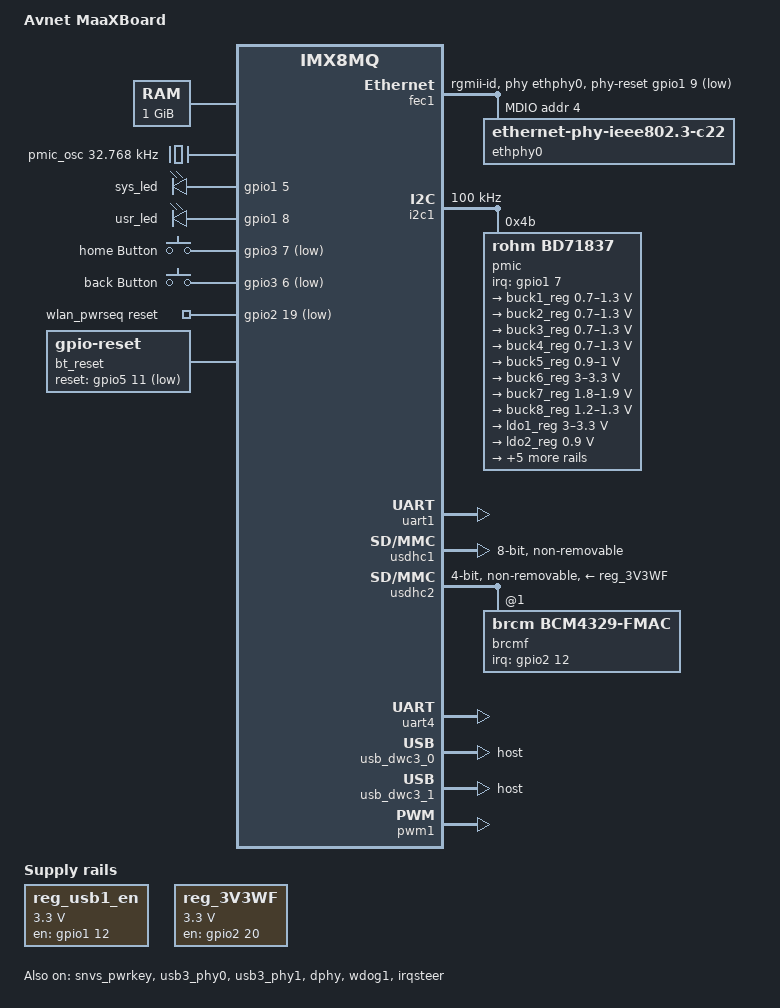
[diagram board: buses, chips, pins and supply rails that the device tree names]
// SPDX-License-Identifier: (GPL-2.0 OR MIT)
/*
 * Copyright 2023 Avnet
 */

/dts-v1/;

#include <dt-bindings/usb/pd.h>
#include "imx8mq.dtsi"

/ {
	model = "Avnet MaaXBoard";
	compatible = "avnet,maaxboard", "fsl,imx8mq";

	chosen {
		stdout-path = &uart1;
	};

	memory@40000000 {
		device_type = "memory";
		reg = <0x00000000 0x40000000 0 0x40000000>;
	};

	resmem: reserved-memory {
		#address-cells = <2>;
		#size-cells = <2>;
		ranges;

		/* global autoconfigured region for contiguous allocations */
		linux,cma {
			compatible = "shared-dma-pool";
			reusable;
			size = <0 0x3c000000>;
			alloc-ranges = <0 0x40000000 0 0x40000000>;
			linux,cma-default;
		};
	};

	pmic_osc: clock-pmic {
        compatible = "fixed-clock";
        #clock-cells = <0>;
        clock-frequency = <32768>;
        clock-output-names = "pmic_osc";
    };

    leds {
        compatible = "gpio-leds";
        pinctrl-names = "default";
        pinctrl-0 = <&pinctrl_gpio_leds>;
        status = "okay";

        sys_led {
            label = "sys_led";
            gpios = <&gpio1 5 0>;
            default-state = "on";
            linux,default-trigger = "heartbeat";
        };  

        usr_led {
            label = "usr_led";
            gpios = <&gpio1 8 0>;
            default-state = "on";
        };  

    };  

    gpio_keys {
        compatible = "gpio-keys";
        pinctrl-names = "default";
        pinctrl-0 = <&pinctrl_gpio_keys>;

        home {
            label = "home Button";
            gpios = <&gpio3 7 GPIO_ACTIVE_LOW>;
            linux,code = <KEY_HOME>;
            gpio-key,wakeup;
        };  

        back {
            label = "back Button";
            gpios = <&gpio3 6 GPIO_ACTIVE_LOW>;
            linux,code = <KEY_PREVIOUS>;
        };  
    };

    regulators {
        compatible = "simple-bus";
        #address-cells = <1>;
        #size-cells = <0>;

        reg_usb1_en: regulator-usb1-vcc {
            compatible = "regulator-fixed";
            pinctrl-names = "default";
            pinctrl-0 = <&pinctrl_usb1_pwr_en>;
            regulator-name = "usb1_pwr_en";
            regulator-min-microvolt = <3300000>;
            regulator-max-microvolt = <3300000>;
            enable-active-high;
            regulator-always-on;
            regulator-boot-on;
            startup-delay-us = <160000>;
            gpio = <&gpio1 12 GPIO_ACTIVE_LOW>;
        };

        reg_3V3WF: regulator@1 {
            compatible = "regulator-fixed";
            reg = <1>;
            pinctrl-names = "default";
            pinctrl-0 = <&pinctrl_reg3V3wf>;
            regulator-name = "WF_3V3";
            regulator-min-microvolt = <3300000>;
            regulator-max-microvolt = <3300000>;
            gpio = <&gpio2 20 0>;  /* WB_PWR_EN */
            regulator-always-on;
            enable-active-high;
        };
	}; 

    wlan_pwrseq: sdio-pwrseq {
        compatible = "mmc-pwrseq-simple";
        pinctrl-names = "default";
        pinctrl-0 = <&pinctrl_wlan>;
        reset-gpios = <&gpio2 19 GPIO_ACTIVE_LOW>;    /* WL_REG_ON */
    };

    bt_reset: bt_reset{
        compatible = "gpio-reset";
        reset-gpios = <&gpio5 11 GPIO_ACTIVE_LOW>;    /* BT_REG_ON */
        reset-delay-us = <1000>;
        reset-post-delay-ms = <40>;
        #reset-cells = <0>;
    };

    hdmi_audio: sound-hdmi {
        compatible = "fsl,imx-audio-hdmi";
        model = "imx-audio-hdmi";
        audio-cpu = <&sai4>;
        protocol = <1>;
        hdmi-out;
        constraint-rate = <44100>,
                <88200>,
                <176400>,
                <32000>,
                <48000>,
                <96000>,
                <192000>;
        status = "disabled";
    };

    backlight: pwm-backlight {
            compatible = "pwm-backlight";
            pwms = <&pwm1 0 40000 0>;
            brightness-levels = <0 8 32 64 96 128 160 192 224 255>;
            default-brightness-level = <8>;
            enable-pwm-on;
            status = "disabled";
    };
};

&A53_0 {
	cpu-supply = <&buck2_reg>;
};

&A53_1 {
	cpu-supply = <&buck2_reg>;
};

&A53_2 {
	cpu-supply = <&buck2_reg>;
};

&A53_3 {
	cpu-supply = <&buck2_reg>;
};

/* Ethernet */
&fec1 {
	pinctrl-names = "default";
	pinctrl-0 = <&pinctrl_fec1>;
	phy-mode = "rgmii-id";
	phy-handle = <&ethphy0>;
	fsl,magic-packet;
	phy-reset-gpios = <&gpio1 9 GPIO_ACTIVE_LOW>;
	status = "okay";

	mdio {
		#address-cells = <1>;
		#size-cells = <0>;

		ethphy0: ethernet-phy@0 {
			compatible = "ethernet-phy-ieee802.3-c22";
			reg = <4>;
			at803x,eee-disabled;
		};
	};
};

&i2c1 {
    clock-frequency = <100000>;
    pinctrl-names = "default";
    pinctrl-0 = <&pinctrl_i2c1>;
    status = "okay";

    pmic: pmic@4b {
        compatible = "rohm,bd71837";
        reg = <0x4b>;
        pinctrl-names = "default";
        pinctrl-0 = <&pinctrl_pmic>;
        clocks = <&pmic_osc>;
        clock-names = "osc";
        clock-output-names = "pmic_clk";
        interrupt-parent = <&gpio1>;
        interrupts = <7 GPIO_ACTIVE_LOW>;
        interrupt-names = "irq";
        rohm,reset-snvs-powered;

        regulators {
            buck1_reg: BUCK1 {
                regulator-name = "buck1";
                regulator-min-microvolt = <700000>;
                regulator-max-microvolt = <1300000>;
                regulator-boot-on;
                regulator-always-on;
                regulator-ramp-delay = <1250>;
                rohm,dvs-run-voltage = <900000>;
                rohm,dvs-idle-voltage = <850000>;
                rohm,dvs-suspend-voltage = <800000>;
            };

            buck2_reg: BUCK2 {
                regulator-name = "buck2";
                regulator-min-microvolt = <700000>;
                regulator-max-microvolt = <1300000>;
                regulator-boot-on;
                regulator-always-on;
                regulator-ramp-delay = <1250>;
                rohm,dvs-run-voltage = <1000000>;
                rohm,dvs-idle-voltage = <900000>;
            };

            buck3_reg: BUCK3 {
                regulator-name = "buck3";
                regulator-min-microvolt = <700000>;
                regulator-max-microvolt = <1300000>;
                regulator-boot-on;
                rohm,dvs-run-voltage = <1000000>;
                regulator-enable-ramp-delay= <180>;
            };

            buck4_reg: BUCK4 {
                regulator-name = "buck4";
                regulator-min-microvolt = <700000>;
                regulator-max-microvolt = <1300000>;
                rohm,dvs-run-voltage = <1000000>;
                regulator-boot-on;
                regulator-enable-ramp-delay= <180>;
            };

            buck5_reg: BUCK5 {
                regulator-name = "buck5";
                regulator-min-microvolt = <900000>;
                regulator-max-microvolt = <1000000>;
                regulator-boot-on;
                regulator-always-on;
            };

            buck6_reg: BUCK6 {
                regulator-name = "buck6";
                regulator-min-microvolt = <3000000>;
                regulator-max-microvolt = <3300000>;
                regulator-boot-on;
                regulator-always-on;
            };

            buck7_reg: BUCK7 {
                regulator-name = "buck7";
                regulator-min-microvolt = <1800000>;
                regulator-max-microvolt = <1900000>;
                regulator-boot-on;
                regulator-always-on;
            };

            buck8_reg: BUCK8 {
                regulator-name = "buck8";
                regulator-min-microvolt = <1200000>;
                regulator-max-microvolt = <1300000>;
                regulator-boot-on;
                regulator-always-on;
            };

            ldo1_reg: LDO1 {
                regulator-name = "ldo1";
                regulator-min-microvolt = <3000000>;
                regulator-max-microvolt = <3300000>;
                regulator-boot-on;
                regulator-always-on;
            };

            ldo2_reg: LDO2 {
                regulator-name = "ldo2";
                regulator-min-microvolt = <900000>;
                regulator-max-microvolt = <900000>;
                regulator-boot-on;
                regulator-always-on;
            };

            ldo3_reg: LDO3 {
                regulator-name = "ldo3";
                regulator-min-microvolt = <1800000>;
                regulator-max-microvolt = <1900000>;
                regulator-boot-on;
                regulator-always-on;
            };
            
            ldo4_reg: LDO4 {
                regulator-name = "ldo4";
                regulator-min-microvolt = <900000>;
                regulator-max-microvolt = <1000000>;
                regulator-boot-on;
                regulator-always-on;
            };

            ldo5_reg: LDO5 {
                regulator-name = "ldo5";
                regulator-min-microvolt = <2500000>;
                regulator-max-microvolt = <2600000>;
                regulator-boot-on;
                regulator-always-on;
            };

            ldo6_reg: LDO6 {
                regulator-name = "ldo6";
                regulator-min-microvolt = <900000>;
                regulator-max-microvolt = <1000000>;
                regulator-boot-on;
                regulator-always-on;
            };

            ldo7_reg: LDO7 {
                regulator-name = "ldo7";
                regulator-min-microvolt = <3000000>;
                regulator-max-microvolt = <3300000>;
                regulator-boot-on;
                regulator-always-on;
            };
        };
    };
};

&pgc_gpu {
	power-supply = <&buck3_reg>;
};

&pgc_vpu {
	power-supply = <&buck4_reg>;
};

&snvs_pwrkey {
	status = "okay";
};

&uart1 {
	pinctrl-names = "default";
	pinctrl-0 = <&pinctrl_uart1>;
	assigned-clocks = <&clk IMX8MQ_CLK_UART1>;
	assigned-clock-parents = <&clk IMX8MQ_CLK_25M>;
	status = "okay";
};

/* TF card or eMMC */
&usdhc1 {
	pinctrl-names = "default", "state_100mhz", "state_200mhz";
	pinctrl-0 = <&pinctrl_usdhc1>;
	pinctrl-1 = <&pinctrl_usdhc1_100mhz>;
	pinctrl-2 = <&pinctrl_usdhc1_200mhz>;
	bus-width = <8>;
	non-removable;
	no-sdio;
    no-1-8-v;
	status = "okay";
};

/* WiFi on SDHC2 */
&usdhc2 {
    pinctrl-names = "default";
    pinctrl-0 = <&pinctrl_usdhc2>;
    bus-width = <4>;
    vmmc-supply = <&reg_3V3WF>;
    mmc-pwrseq = <&wlan_pwrseq>;
    no-1-8-v;
    non-removable;
    pm-ignore-notify;
    keep-power-in-suspend;
    status = "okay";

    #address-cells = <1>;
    #size-cells = <0>;
    brcmf: bcrmf@1 {
            reg = <1>;
            compatible = "brcm,bcm4329-fmac";
            interrupt-parent = <&gpio2>;
            interrupts = <12 IRQ_TYPE_LEVEL_LOW>;
            interrupt-names = "host-wake";
        };  
};

/* Bluetooth on UART4 */
&uart4 {
    pinctrl-names = "default";
    pinctrl-0 = <&pinctrl_uart4>;
    assigned-clocks = <&clk IMX8MQ_CLK_UART4>;
    assigned-clock-parents = <&clk IMX8MQ_SYS1_PLL_80M>;
    fsl,uart-has-rtscts;
    resets = <&bt_reset>;
    status = "okay";
};

&usb3_phy0 {
	status = "okay";
};

&usb_dwc3_0 {
	dr_mode = "host";
	status = "okay";
};

&usb3_phy1 {
	status = "okay";
};

&usb_dwc3_1 {
	dr_mode = "host";
	status = "okay";
};

/* HDMI */
&sai4 {
    assigned-clocks = <&clk IMX8MQ_CLK_SAI4>;
    assigned-clock-parents = <&clk IMX8MQ_AUDIO_PLL1_OUT>;
    assigned-clock-rates = <24576000>;
    clocks = <&clk IMX8MQ_CLK_SAI4_IPG>, <&clk IMX8MQ_CLK_DUMMY>,
        <&clk IMX8MQ_CLK_SAI4_ROOT>, <&clk IMX8MQ_CLK_DUMMY>,
        <&clk IMX8MQ_CLK_DUMMY>, <&clk IMX8MQ_AUDIO_PLL1_OUT>,
        <&clk IMX8MQ_AUDIO_PLL2_OUT>;
    clock-names = "bus", "mclk0", "mclk1", "mclk2", "mclk3", "pll8k", "pll11k";
    status = "disabled";
};

&dphy {
    status = "okay";
};

&dcss {
    status = "disabled";
};

&hdmi {
    compatible = "cdn,imx8mq-hdmi";
    lane-mapping = <0xe4>;
    status = "disabled";
};

/* MIPI-DSI LCD and Touch Screen */

&pwm1 {
        pinctrl-names = "default";
        pinctrl-0 = <&pinctrl_pwm1>;
        /*status = "disabled";*/
        status = "okay";
};

&i2c4 {
    clock-frequency = <400000>;
    pinctrl-names = "default";
    pinctrl-0 = <&pinctrl_i2c4>;
    status = "disabled";

    ft5426: ft5426_ts@38 {
        compatible = "focaltech,fts";
        reg = <0x38>;
        pinctrl-0 = <&pinctrl_ts>;
        interrupt-parent = <&gpio3>;
        interrupts = <13 2>;
        focaltech,reset-gpio = <&gpio1 4 0x01>;
        focaltech,irq-gpio = <&gpio3 13 0x02>;
        focaltech,max-touch-number = <10>;
        focaltech,panel-type = <0x54260002>; /* _FT5426 */
        focaltech,display-coords =  <0 0 720 1280>;
        focaltech,have-key;
        focaltech,key-number = <3>;
        focaltech,keys = <139 102 158>;
        focaltech,key-y-coord = <2000>;
        focaltech,key-x-coords = <200 600 800>;
        status = "disabled";
    };  

    gt911: gt911_ts@14 {
        compatible = "goodix,gt911"; 
        reg = <0x14>;
        pinctrl-names = "default";
        pinctrl-0 = <&pinctrl_ts>;
        interrupt-parent = <&gpio3>;
        interrupts = <13 2>;
        irq-gpios = <&gpio3 13 GPIO_ACTIVE_HIGH>;
        reset-gpios = <&gpio1 4 GPIO_ACTIVE_HIGH>;
        touchscreen-size-x = <720>;
        touchscreen-size-y = <1280>;
        status = "disabled";
    };  
};

&wdog1 {
	pinctrl-names = "default";
	pinctrl-0 = <&pinctrl_wdog>;
	fsl,ext-reset-output;
	status = "okay";
};

&iomuxc {
	pinctrl-names = "default";

	pinctrl_ir_recv: ir-recv {
		fsl,pins = <
			MX8MQ_IOMUXC_GPIO1_IO12_GPIO1_IO12		0x4f
		>;
	};
    
	pinctrl_pmic: pmicirq {
        fsl,pins = < 
            MX8MQ_IOMUXC_GPIO1_IO07_GPIO1_IO7       0x19
        >;
    };

    pinctrl_fec1: fec1grp {
		fsl,pins = <
			MX8MQ_IOMUXC_ENET_MDC_ENET1_MDC			0x3
			MX8MQ_IOMUXC_ENET_MDIO_ENET1_MDIO		0x23
			MX8MQ_IOMUXC_ENET_TD3_ENET1_RGMII_TD3		0x1f
			MX8MQ_IOMUXC_ENET_TD2_ENET1_RGMII_TD2		0x1f
			MX8MQ_IOMUXC_ENET_TD1_ENET1_RGMII_TD1		0x1f
			MX8MQ_IOMUXC_ENET_TD0_ENET1_RGMII_TD0		0x1f
			MX8MQ_IOMUXC_ENET_RD3_ENET1_RGMII_RD3		0x91
			MX8MQ_IOMUXC_ENET_RD2_ENET1_RGMII_RD2		0x91
			MX8MQ_IOMUXC_ENET_RD1_ENET1_RGMII_RD1		0x91
			MX8MQ_IOMUXC_ENET_RD0_ENET1_RGMII_RD0		0x91
			MX8MQ_IOMUXC_ENET_TXC_ENET1_RGMII_TXC		0x1f
			MX8MQ_IOMUXC_ENET_RXC_ENET1_RGMII_RXC		0x91
			MX8MQ_IOMUXC_ENET_RX_CTL_ENET1_RGMII_RX_CTL	0x91
			MX8MQ_IOMUXC_ENET_TX_CTL_ENET1_RGMII_TX_CTL	0x1f
			MX8MQ_IOMUXC_GPIO1_IO09_GPIO1_IO9		0x19
		>;
	};

	pinctrl_i2c1: i2c1grp {
		fsl,pins = <
			MX8MQ_IOMUXC_I2C1_SCL_I2C1_SCL			0x4000007f
			MX8MQ_IOMUXC_I2C1_SDA_I2C1_SDA			0x4000007f
		>;
	};

	pinctrl_uart1: uart1grp {
		fsl,pins = <
			MX8MQ_IOMUXC_UART1_RXD_UART1_DCE_RX		0x49
			MX8MQ_IOMUXC_UART1_TXD_UART1_DCE_TX		0x49
		>;
	};

	pinctrl_usdhc1: usdhc1grp {
		fsl,pins = <
			MX8MQ_IOMUXC_SD1_CLK_USDHC1_CLK			0x83
			MX8MQ_IOMUXC_SD1_CMD_USDHC1_CMD			0xc3
			MX8MQ_IOMUXC_SD1_DATA0_USDHC1_DATA0		0xc3
			MX8MQ_IOMUXC_SD1_DATA1_USDHC1_DATA1		0xc3
			MX8MQ_IOMUXC_SD1_DATA2_USDHC1_DATA2		0xc3
			MX8MQ_IOMUXC_SD1_DATA3_USDHC1_DATA3		0xc3
			MX8MQ_IOMUXC_SD1_DATA4_USDHC1_DATA4		0xc3
			MX8MQ_IOMUXC_SD1_DATA5_USDHC1_DATA5		0xc3
			MX8MQ_IOMUXC_SD1_DATA6_USDHC1_DATA6		0xc3
			MX8MQ_IOMUXC_SD1_DATA7_USDHC1_DATA7		0xc3
			MX8MQ_IOMUXC_SD1_STROBE_USDHC1_STROBE		0x83
			MX8MQ_IOMUXC_SD1_RESET_B_USDHC1_RESET_B		0xc1
		>;
	};

	pinctrl_usdhc1_100mhz: usdhc1-100grp {
		fsl,pins = <
			MX8MQ_IOMUXC_SD1_CLK_USDHC1_CLK			0x8d
			MX8MQ_IOMUXC_SD1_CMD_USDHC1_CMD			0xcd
			MX8MQ_IOMUXC_SD1_DATA0_USDHC1_DATA0		0xcd
			MX8MQ_IOMUXC_SD1_DATA1_USDHC1_DATA1		0xcd
			MX8MQ_IOMUXC_SD1_DATA2_USDHC1_DATA2		0xcd
			MX8MQ_IOMUXC_SD1_DATA3_USDHC1_DATA3		0xcd
			MX8MQ_IOMUXC_SD1_DATA4_USDHC1_DATA4		0xcd
			MX8MQ_IOMUXC_SD1_DATA5_USDHC1_DATA5		0xcd
			MX8MQ_IOMUXC_SD1_DATA6_USDHC1_DATA6		0xcd
			MX8MQ_IOMUXC_SD1_DATA7_USDHC1_DATA7		0xcd
			MX8MQ_IOMUXC_SD1_STROBE_USDHC1_STROBE		0x8d
			MX8MQ_IOMUXC_SD1_RESET_B_USDHC1_RESET_B		0xc1
		>;
	};

	pinctrl_usdhc1_200mhz: usdhc1-200grp {
		fsl,pins = <
			MX8MQ_IOMUXC_SD1_CLK_USDHC1_CLK			0x9f
			MX8MQ_IOMUXC_SD1_CMD_USDHC1_CMD			0xdf
			MX8MQ_IOMUXC_SD1_DATA0_USDHC1_DATA0		0xdf
			MX8MQ_IOMUXC_SD1_DATA1_USDHC1_DATA1		0xdf
			MX8MQ_IOMUXC_SD1_DATA2_USDHC1_DATA2		0xdf
			MX8MQ_IOMUXC_SD1_DATA3_USDHC1_DATA3		0xdf
			MX8MQ_IOMUXC_SD1_DATA4_USDHC1_DATA4		0xdf
			MX8MQ_IOMUXC_SD1_DATA5_USDHC1_DATA5		0xdf
			MX8MQ_IOMUXC_SD1_DATA6_USDHC1_DATA6		0xdf
			MX8MQ_IOMUXC_SD1_DATA7_USDHC1_DATA7		0xdf
			MX8MQ_IOMUXC_SD1_STROBE_USDHC1_STROBE		0x9f
			MX8MQ_IOMUXC_SD1_RESET_B_USDHC1_RESET_B		0xc1
		>;
	};

    pinctrl_gpio_leds: gpio_ledsgrp {
        fsl,pins = < 
            MX8MQ_IOMUXC_GPIO1_IO05_GPIO1_IO5           0x19
            MX8MQ_IOMUXC_GPIO1_IO08_GPIO1_IO8           0x19
        >;
    };  

    pinctrl_gpio_keys: gpio_keysgrp {
        fsl,pins = < 
            MX8MQ_IOMUXC_NAND_DATA01_GPIO3_IO7          0x56
            MX8MQ_IOMUXC_NAND_DATA00_GPIO3_IO6          0x56
        >;
    };

    pinctrl_usb1_pwr_en: usb1_pwr_en {
        fsl,pins = < 
            MX8MQ_IOMUXC_GPIO1_IO12_GPIO1_IO12      0x16  /* USB1_EN */
        >;
    };

    pinctrl_usdhc2: usdhc2grp {
        fsl,pins = < 
            MX8MQ_IOMUXC_SD2_CLK_USDHC2_CLK         0x83
            MX8MQ_IOMUXC_SD2_CMD_USDHC2_CMD         0xc3
            MX8MQ_IOMUXC_SD2_DATA0_USDHC2_DATA0     0xc3
            MX8MQ_IOMUXC_SD2_DATA1_USDHC2_DATA1     0xc3
            MX8MQ_IOMUXC_SD2_DATA2_USDHC2_DATA2     0xc3
            MX8MQ_IOMUXC_SD2_DATA3_USDHC2_DATA3     0xc3
        >;
    };

    pinctrl_wlan: wlangrp {
        fsl,pins = < 
            MX8MQ_IOMUXC_SD2_RESET_B_GPIO2_IO19         0x19 /* WL_REG_ON */
            MX8MQ_IOMUXC_SD2_CD_B_GPIO2_IO12            0x19 /* WL_HOST_WAKE irq */
            MX8MQ_IOMUXC_GPIO1_IO00_ANAMIX_REF_CLK_32K  0x05 /* 32K CLK IN */
        >;
    };  

    pinctrl_reg3V3wf: reg3V3wfgrp {
        fsl,pins = < 
            MX8MQ_IOMUXC_SD2_WP_GPIO2_IO20              0x19 /* WB_PWR_EN */
        >;
    };  

    pinctrl_uart4: uart4grp {
        fsl,pins = <
            MX8MQ_IOMUXC_UART4_RXD_UART4_DCE_RX         0x49
            MX8MQ_IOMUXC_UART4_TXD_UART4_DCE_TX         0x49
            MX8MQ_IOMUXC_ECSPI2_SS0_UART4_DCE_RTS_B     0x49
            MX8MQ_IOMUXC_ECSPI2_MISO_UART4_DCE_CTS_B    0x49
            MX8MQ_IOMUXC_ECSPI2_MOSI_GPIO5_IO11         0x19
        >;
    };

    pinctrl_pwm1: pwm1_grp {
        fsl,pins = <
            MX8MQ_IOMUXC_GPIO1_IO01_PWM1_OUT        0x06
        >;
    };

    pinctrl_ts: ts_pinsgrp {
        fsl,pins = <
            MX8MQ_IOMUXC_NAND_DATA07_GPIO3_IO13     0x19  /* DSI_TS_nINT */
            MX8MQ_IOMUXC_GPIO1_IO04_GPIO1_IO4       0x19  /* DSI_TS_RST  */
        >;
    };

    pinctrl_i2c4: i2c4grp {
        fsl,pins = <
            MX8MQ_IOMUXC_I2C4_SCL_I2C4_SCL          0x4000007f
            MX8MQ_IOMUXC_I2C4_SDA_I2C4_SDA          0x4000007f
        >;
    };

	pinctrl_wdog: wdog1grp {
		fsl,pins = <
			MX8MQ_IOMUXC_GPIO1_IO02_WDOG1_WDOG_B		0xc6
		>;
	};
};

&irqsteer {
	status = "okay";
};

